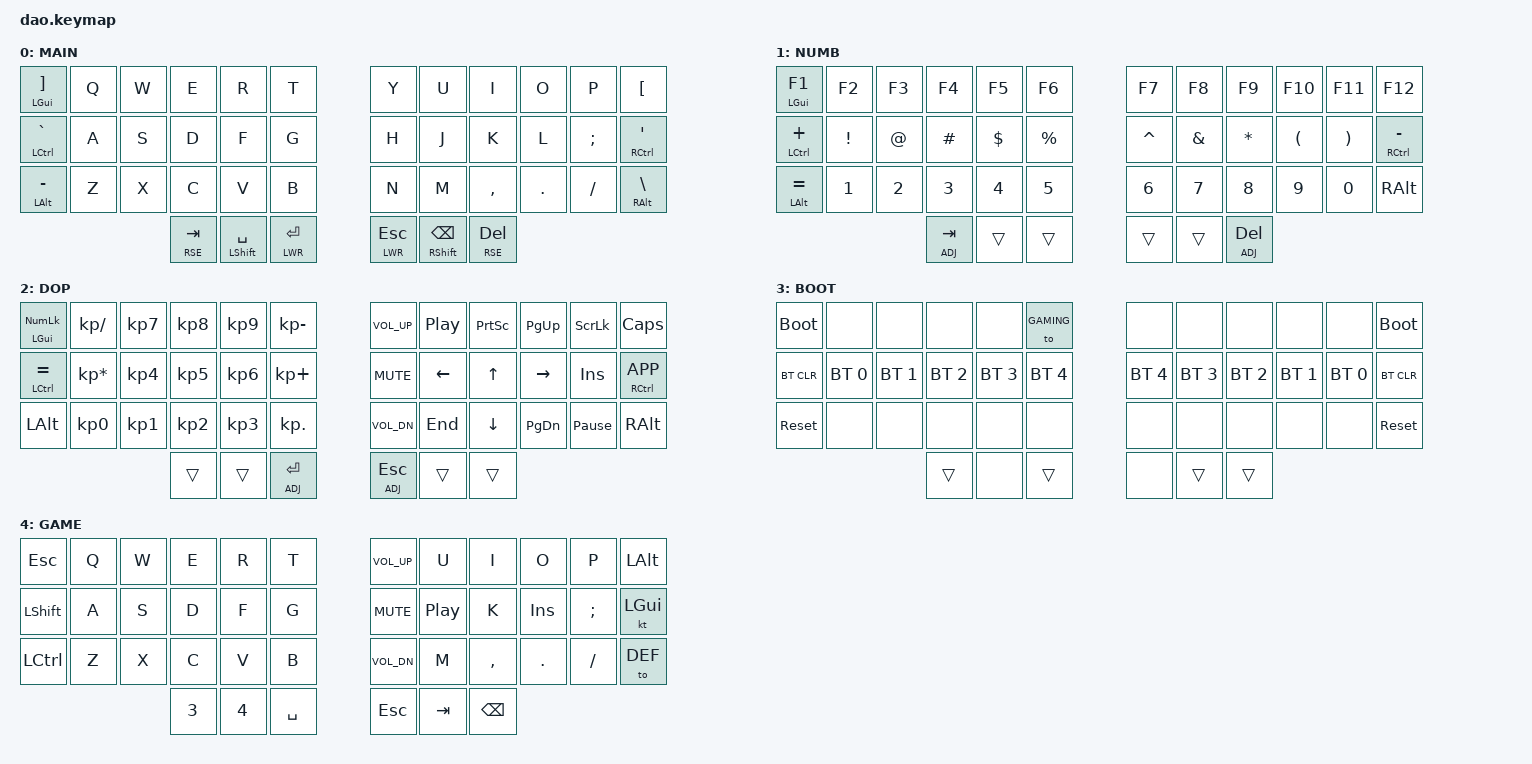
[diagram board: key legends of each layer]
/*
 * Copyright (c) 2021 Rafael Yumagulov
 *
 * SPDX-License-Identifier: MIT
 */

#include <behaviors.dtsi>
#include <dt-bindings/zmk/keys.h>
#include <dt-bindings/zmk/bt.h>

#define DEF 0
#define LWR 1
#define RSE 2
#define ADJ 3
#define GAMING 4

&lt { quick_tap_ms = <200>; };
&mt { quick_tap_ms = <200>; };

/ {
  chosen {
    zmk,matrix_transform = &default_transform;
    //zmk,matrix_transform = &five_column_transform;

  };
};

/ {
        keymap {
                compatible = "zmk,keymap";

                default_layer {
                        label = "MAIN";  
                        bindings = <
&mt LGUI RBKT     &kp Q   &kp W   &kp E         &kp R             &kp T         &kp Y         &kp U            &kp I         &kp O     &kp P      &kp LBKT
          &mt LCTRL GRAVE   &kp A   &kp S   &kp D         &kp F             &kp G         &kp H         &kp J            &kp K         &kp L     &kp SEMI   &mt RCTRL SQT
          &mt LALT MINUS    &kp Z   &kp X   &kp C         &kp V             &kp B         &kp N         &kp M            &kp COMMA     &kp DOT   &kp FSLH   &mt RALT BSLH
                                            &lt RSE TAB   &mt LSHFT SPACE   &lt LWR RET   &lt LWR ESC   &mt RSHFT BSPC   &lt RSE DEL
                        >;
                };
                lower_layer {
                        label = "NUMB";
                        bindings = <
&mt LGUI F1      &kp F2     &kp F3   &kp F4        &kp F5     &kp F6      &kp F7      &kp F8     &kp F9        &kp F10    &kp F11    &kp F12       
&mt LCTRL PLUS   &kp EXCL   &kp AT   &kp HASH      &kp DLLR   &kp PRCNT   &kp CARET   &kp AMPS   &kp STAR      &kp LPAR   &kp RPAR   &mt RCTRL MINUS
&mt LALT EQUAL   &kp N1     &kp N2   &kp N3        &kp N4     &kp N5      &kp N6      &kp N7     &kp N8        &kp N9     &kp N0     &kp RALT
                                               &lt ADJ TAB   &trans     &trans      &trans      &trans     &lt ADJ DEL
                        >;
                };

                raise_layer {
                        label = "DOP";
                        bindings = <
&mt LGUI KP_NUM   &kp KP_SLASH      &kp KP_N7   &kp KP_N8   &kp KP_N9   &kp KP_MINUS   &kp C_VOL_UP   &kp C_PP   &kp PSCRN   &kp PG_UP   &kp SLCK          &kp CLCK       
&mt LCTRL EQUAL   &kp KP_MULTIPLY   &kp KP_N4   &kp KP_N5   &kp KP_N6   &kp KP_PLUS    &kp C_MUTE     &kp LEFT   &kp UP      &kp RIGHT   &kp INS           &mt RCTRL  K_APP
&kp LALT          &kp KP_N0         &kp KP_N1   &kp KP_N2   &kp KP_N3   &kp KP_DOT     &kp C_VOL_DN   &kp END    &kp DOWN    &kp PG_DN   &kp PAUSE_BREAK   &kp RALT
                                                          &trans      &trans      &lt ADJ RET    &lt ADJ ESC    &trans     &trans
                        >;
                };
                adjust_layer {
                        label = "BOOT";
                        bindings = <
&bootloader   &none          &none          &none          &none          &to GAMING         &none          &none          &none          &none          &none          &bootloader
&bt BT_CLR    &bt BT_SEL 0   &bt BT_SEL 1   &bt BT_SEL 2   &bt BT_SEL 3   &bt BT_SEL 4   &bt BT_SEL 4   &bt BT_SEL 3   &bt BT_SEL 2   &bt BT_SEL 1   &bt BT_SEL 0   &bt BT_CLR
&sys_reset        &none          &none          &none          &none          &none          &none          &none          &none          &none          &none          &sys_reset
                                                      &trans         &none          &trans         &none          &trans         &trans
                        >;
                };
                gaming_layer {
                        label = "GAME";
                        bindings = <
&kp ESC       &kp Q   &kp W   &kp E         &kp R             &kp T         &kp C_VOL_UP         &kp U            &kp I         &kp O     &kp P      &kp LALT
&kp LSHIFT    &kp A   &kp S   &kp D         &kp F             &kp G         &kp C_MUTE         &kp C_PP            &kp K         &kp INS     &kp SEMI   &kt LGUI
&kp LCTRL     &kp Z   &kp X   &kp C         &kp V             &kp B         &kp C_VOL_DN         &kp M            &kp COMMA     &kp DOT   &kp FSLH   &to DEF
                                  &kp N3   &kp N4   &kp SPACE   &kp ESC   &kp TAB   &kp BSPC
                        >;
                };
        };
};
